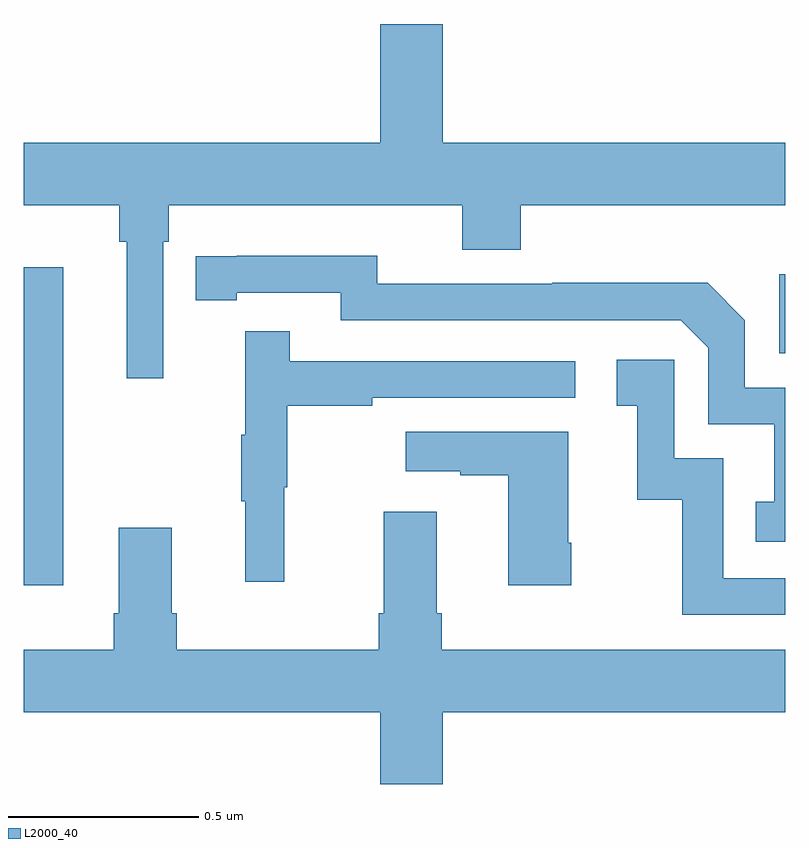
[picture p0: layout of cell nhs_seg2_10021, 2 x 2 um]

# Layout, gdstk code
import gdstk
lib = gdstk.Library(unit=1e-6, precision=1e-09)
def R(c, l, rs):  # rectangles x0, y0, x1, y1
    for r in rs: c.add(gdstk.rectangle(r[:2], r[2:], *l))
def P(c, l, *ps):  # polygons
    for p in ps: c.add(gdstk.Polygon(p, *l))
L2000_40 = (2000, 40)

nhs_seg2_10021 = lib.new_cell('nhs_seg2_10021')
R(nhs_seg2_10021, L2000_40, [(236,625.326,236.104,626.161), (237.984,625.935,238,626.143)])
P(nhs_seg2_10021, L2000_40, [(236.367,626.228),(236.381,626.228),(236.381,626.324),(237.152,626.324),(237.152,626.207),(237.305,626.207),(237.305,626.324),(238,626.324),(238,626.488),(237.1,626.488),(237.1,626.8),(236.936,626.8),(236.936,626.488),(236,626.488),(236,626.324),(236.251,626.324),(236.251,626.228),(236.27,626.228),(236.27,625.869),(236.367,625.869)],
  [(238,625.845),(237.894,625.845),(237.894,626.022),(237.796,626.12),(237.388,626.12),(237.388,626.118),(236.928,626.118),(236.928,626.191),(236.56,626.191),(236.56,626.19),(236.452,626.19),(236.452,626.074),(236.56,626.074),(236.56,626.094),(236.832,626.094),(236.832,626.022),(237.726,626.022),(237.798,625.95),(237.798,625.749),(237.971,625.749),(237.971,625.545),(237.922,625.545),(237.922,625.44),(238,625.44)],
  [(236.684,625.584),(236.692,625.584),(236.692,625.798),(236.915,625.798),(236.915,625.818),(237.448,625.818),(237.448,625.914),(236.699,625.914),(236.699,625.993),(236.582,625.993),(236.582,625.721),(236.571,625.721),(236.571,625.547),(236.582,625.547),(236.582,625.335),(236.684,625.335)],
  [(238,625.344),(237.837,625.344),(237.837,625.659),(237.708,625.659),(237.708,625.918),(237.558,625.918),(237.558,625.797),(237.611,625.797),(237.611,625.551),(237.729,625.551),(237.729,625.248),(238,625.248)],
  [(237.438,625.438),(237.43,625.438),(237.43,625.729),(237.003,625.729),(237.003,625.625),(237.146,625.625),(237.146,625.615),(237.272,625.615),(237.272,625.326),(237.438,625.326)],
  [(237.1,624.992),(238,624.992),(238,625.156),(237.098,625.156),(237.098,625.252),(237.085,625.252),(237.085,625.519),(236.945,625.519),(236.945,625.252),(236.933,625.252),(236.933,625.156),(236.402,625.156),(236.402,625.252),(236.389,625.252),(236.389,625.477),(236.249,625.477),(236.249,625.252),(236.237,625.252),(236.237,625.156),(236,625.156),(236,624.992),(236.936,624.992),(236.936,624.804),(237.1,624.804)])

lib.write_gds('nhs_seg2_10021.gds')
